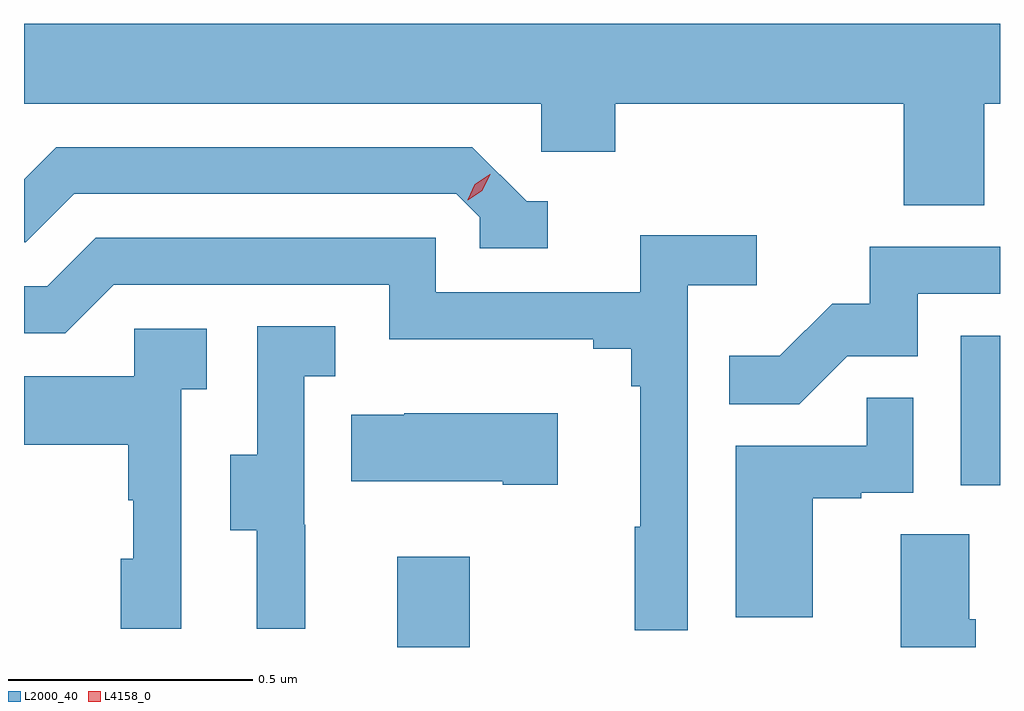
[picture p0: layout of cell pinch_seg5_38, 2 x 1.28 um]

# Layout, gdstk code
import gdstk
lib = gdstk.Library(unit=1e-6, precision=1e-09)
def R(c, l, rs):  # rectangles x0, y0, x1, y1
    for r in rs: c.add(gdstk.rectangle(r[:2], r[2:], *l))
def P(c, l, *ps):  # polygons
    for p in ps: c.add(gdstk.Polygon(p, *l))
L2000_40 = (2000, 40)
L4158_0 = (4158, 0)

pinch_seg5_38 = lib.new_cell('pinch_seg5_38')
R(pinch_seg5_38, L2000_40, [(1103.489,907.594,1103.637,907.78), (1104.644,907.926,1104.724,908.233)])
P(pinch_seg5_38, L2000_40, [(1104.692,908.708),(1104.724,908.708),(1104.724,908.872),(1102.724,908.872),(1102.724,908.708),(1103.784,908.708),(1103.784,908.61),(1103.936,908.61),(1103.936,908.708),(1104.527,908.708),(1104.527,908.5),(1104.692,908.5)],
  [(1103.797,908.508),(1103.754,908.508),(1103.643,908.619),(1102.79,908.619),(1102.724,908.553),(1102.724,908.424),(1102.728,908.424),(1102.827,908.523),(1103.61,908.523),(1103.658,908.475),(1103.658,908.412),(1103.797,908.412)],
  [(1104.084,908.336),(1104.226,908.336),(1104.226,908.438),(1103.987,908.438),(1103.987,908.322),(1103.568,908.322),(1103.568,908.433),(1102.871,908.433),(1102.772,908.334),(1102.724,908.334),(1102.724,908.238),(1102.809,908.238),(1102.908,908.337),(1103.472,908.337),(1103.472,908.225),(1103.891,908.225),(1103.891,908.206),(1103.968,908.206),(1103.968,908.129),(1103.987,908.129),(1103.987,907.841),(1103.976,907.841),(1103.976,907.629),(1104.084,907.629)],
  [(1104.411,908.19),(1104.555,908.19),(1104.555,908.319),(1104.724,908.319),(1104.724,908.415),(1104.457,908.415),(1104.457,908.298),(1104.38,908.298),(1104.273,908.191),(1104.169,908.191),(1104.169,908.092),(1104.313,908.092)],
  [(1103.3,907.845),(1103.298,907.845),(1103.298,908.149),(1103.362,908.149),(1103.362,908.252),(1103.202,908.252),(1103.202,907.989),(1103.147,907.989),(1103.147,907.834),(1103.201,907.834),(1103.201,907.632),(1103.3,907.632)],
  [(1103.046,908.123),(1103.098,908.123),(1103.098,908.247),(1102.95,908.247),(1102.95,908.149),(1102.724,908.149),(1102.724,908.009),(1102.938,908.009),(1102.938,907.895),(1102.948,907.895),(1102.948,907.776),(1102.922,907.776),(1102.922,907.632),(1103.046,907.632)],
  [(1104.34,907.899),(1104.44,907.899),(1104.44,907.911),(1104.546,907.911),(1104.546,908.105),(1104.451,908.105),(1104.451,908.007),(1104.182,908.007),(1104.182,907.656),(1104.34,907.656)],
  [(1103.818,908.074),(1103.503,908.074),(1103.503,908.071),(1103.395,908.071),(1103.395,907.934),(1103.705,907.934),(1103.705,907.927),(1103.818,907.927)],
  [(1104.674,907.652),(1104.661,907.652),(1104.661,907.826),(1104.521,907.826),(1104.521,907.594),(1104.674,907.594)])
P(pinch_seg5_38, L4158_0, [(1103.633,908.51),(1103.633,908.511),(1103.648,908.543),(1103.678,908.563),(1103.679,908.563),(1103.679,908.563),(1103.663,908.53),(1103.633,908.51)])

lib.write_gds('pinch_seg5_38.gds')
